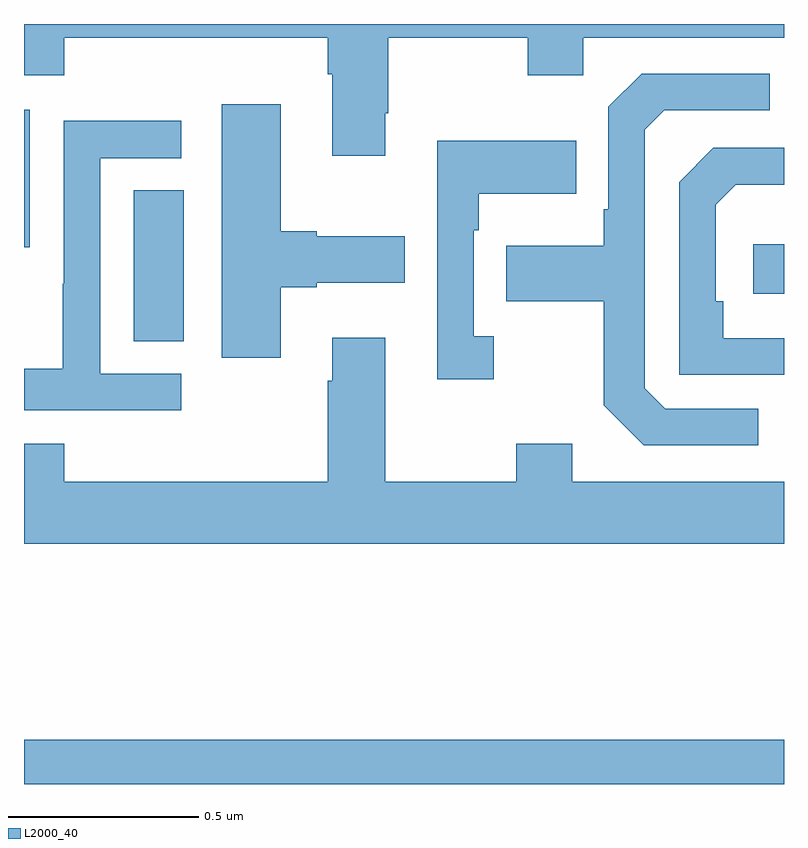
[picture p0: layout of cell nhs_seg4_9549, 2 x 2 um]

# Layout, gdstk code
import gdstk
lib = gdstk.Library(unit=1e-6, precision=1e-09)
def R(c, l, rs):  # rectangles x0, y0, x1, y1
    for r in rs: c.add(gdstk.rectangle(r[:2], r[2:], *l))
def P(c, l, *ps):  # polygons
    for p in ps: c.add(gdstk.Polygon(p, *l))
L2000_40 = (2000, 40)

nhs_seg4_9549 = lib.new_cell('nhs_seg4_9549')
R(nhs_seg4_9549, L2000_40, [(229,750.9,231,751.016), (229.289,752.065,229.42,752.462), (230.919,752.19,231,752.32), (229,752.313,229.015,752.674)])
P(nhs_seg4_9549, L2000_40, [(229.951,752.665),(229.959,752.665),(229.959,752.864),(230.326,752.864),(230.326,752.765),(230.472,752.765),(230.472,752.864),(231,752.864),(231,752.9),(229,752.9),(229,752.765),(229.106,752.765),(229.106,752.864),(229.799,752.864),(229.799,752.768),(229.811,752.768),(229.811,752.553),(229.951,752.553)],
  [(230.932,751.887),(230.688,751.887),(230.634,751.941),(230.634,752.622),(230.685,752.673),(230.962,752.673),(230.962,752.769),(230.625,752.769),(230.538,752.682),(230.538,752.413),(230.526,752.413),(230.526,752.317),(230.269,752.317),(230.269,752.17),(230.526,752.17),(230.526,751.897),(230.631,751.791),(230.932,751.791)],
  [(229.675,752.207),(229.771,752.207),(229.771,752.219),(230.002,752.219),(230.002,752.341),(229.771,752.341),(229.771,752.354),(229.675,752.354),(229.675,752.689),(229.52,752.689),(229.52,752.022),(229.675,752.022)],
  [(229.414,751.98),(229.2,751.98),(229.2,752.547),(229.414,752.547),(229.414,752.646),(229.104,752.646),(229.104,752.216),(229.102,752.216),(229.102,751.993),(229,751.993),(229,751.884),(229.414,751.884)],
  [(230.236,752.078),(230.184,752.078),(230.184,752.357),(230.197,752.357),(230.197,752.453),(230.453,752.453),(230.453,752.593),(230.088,752.593),(230.088,751.965),(230.236,751.965)],
  [(231,752.073),(230.84,752.073),(230.84,752.17),(230.82,752.17),(230.82,752.424),(230.873,752.477),(231,752.477),(231,752.574),(230.814,752.574),(230.724,752.484),(230.724,751.977),(231,751.977)],
  [(231,751.696),(230.443,751.696),(230.443,751.795),(230.296,751.795),(230.296,751.696),(229.951,751.696),(229.951,752.074),(229.811,752.074),(229.811,751.961),(229.799,751.961),(229.799,751.696),(229.106,751.696),(229.106,751.795),(229,751.795),(229,751.532),(231,751.532)])

lib.write_gds('nhs_seg4_9549.gds')
